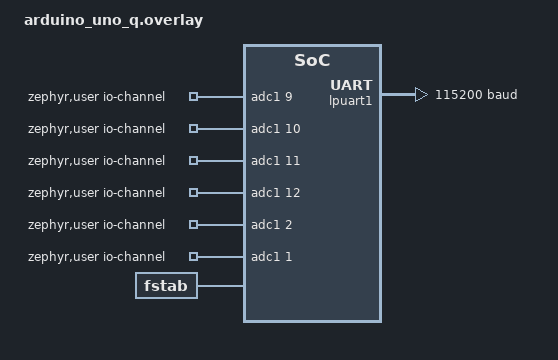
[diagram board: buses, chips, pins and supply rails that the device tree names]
# -----------------------------------------------------------------------------
#
# Copyright (c) Qualcomm Technologies, Inc. and/or its subsidiaries.
# SPDX-License-Identifier: MIT
#
# -----------------------------------------------------------------------------

/*
 * MicroPython on Arduino UNO Q — DTS Overlay
 *
 * Three additions over the upstream board DTS:
 *
 * 1. Console redirect: The board DTS sets zephyr,console = &usart1
 *    which routes to Arduino header pins D0/D1. LPUART1 (PG7/PG8)
 *    is the internal MCU↔QRB2210 UART, exposed as /dev/ttyHS1 on
 *    the Linux side at 115200 baud.
 *
 * 2. Storage partition: Adds a 256 KB littlefs partition for
 *    MicroPython's /flash filesystem. Placed at 0xF0000, after
 *    the existing scratch_partition (0xE0000, 64 KB). The region
 *    from 0xF0000 to 0x200000 (1088 KB) is unused in the stock
 *    partition layout.
 *
 * 3. FSTAB entry: Registers the storage partition with Zephyr's
 *    filesystem table so that zephyr.FileSystem("/flash") works from
 *    Python and Zephyr auto-mounts the partition at boot. Parameters
 *    match the STM32U5 flash: write-block-size=16, erase-block-size=8192.
 *
 * Flash layout (2 MB total):
 *   0x00000 - 0x0FFFF  boot_partition     64 KB  (MCUboot, stock)
 *   0x10000 - 0x7FFFF  slot0_partition   448 KB  (primary image, stock)
 *   0x80000 - 0xDFFFF  slot1_partition   384 KB  (secondary image, stock)
 *   0xE0000 - 0xEFFFF  scratch_partition  64 KB  (MCUboot swap, stock)
 *   0xF0000 - 0x12FFFF storage_partition 256 KB  (MicroPython /flash) <- added
 *   0x130000 - 0x1FFFFF (unused)         832 KB
 */

/ {
	chosen {
		zephyr,console = &lpuart1;
		zephyr,shell-uart = &lpuart1;
	};

	/*
	 * ADC channels exposed to MicroPython via machine.ADC(("adc1", ch)).
	 * Maps Arduino analog pins to STM32 ADC1 channel numbers:
	 *   A0 = PA4 = ch 9    A1 = PA5 = ch 10   A2 = PA6 = ch 11
	 *   A3 = PA7 = ch 12   A4 = PC1 = ch  2   A5 = PC0 = ch  1
	 */
	zephyr,user {
		io-channels = <&adc1 9>, <&adc1 10>, <&adc1 11>,
		              <&adc1 12>, <&adc1 2>, <&adc1 1>;
	};
};

&lpuart1 {
	status = "okay";
	current-speed = <115200>;
};

&flash0 {
	partitions {
		compatible = "fixed-partitions";
		#address-cells = <1>;
		#size-cells = <1>;

		/* 256 KB littlefs partition for MicroPython /flash filesystem */
		storage_partition: partition@f0000 {
			label = "storage";
			reg = <0x000f0000 DT_SIZE_K(256)>;
		};
	};
};

/*
 * FSTAB entry for MicroPython /flash filesystem.
 *
 * Enables zephyr.FileSystem("/flash") in Python and causes Zephyr to
 * auto-mount the littlefs partition at boot (before _boot.py runs).
 *
 * STM32U5 flash parameters (from stm32u5.dtsi):
 *   write-block-size = 16   -> prog-size = 16
 *   erase-block-size = 8192 -> block size handled by littlefs automatically
 */
/ {
	fstab: fstab {
		compatible = "zephyr,fstab";
		lfs1: lfs1 {
			compatible = "zephyr,fstab,littlefs";
			mount-point = "/flash";
			partition = <&storage_partition>;
			automount;
			read-size = <16>;
			prog-size = <16>;
			cache-size = <64>;
			lookahead-size = <32>;
			block-cycles = <512>;
		};
	};
};
